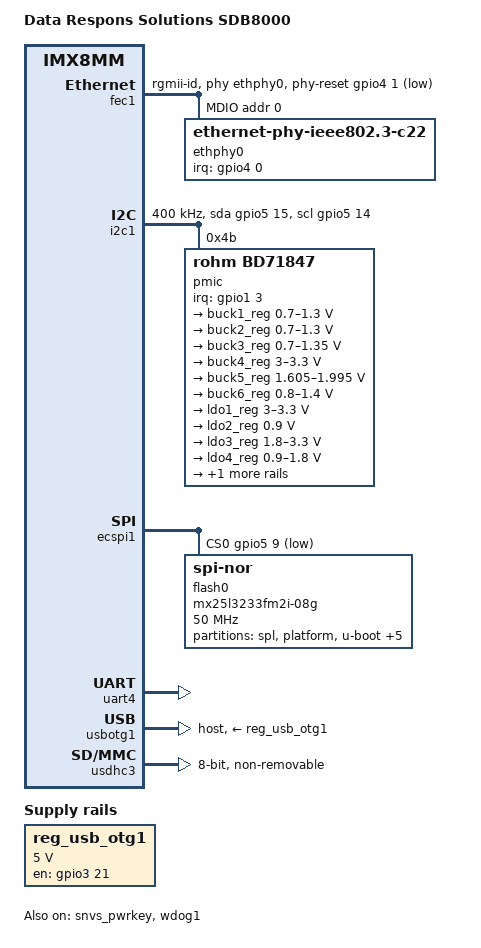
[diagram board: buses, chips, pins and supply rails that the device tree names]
// SPDX-License-Identifier: (GPL-2.0+ OR MIT)
/*
 * Copyright 2021 Data Respons Solutions AB
 */

/dts-v1/;

#include "imx8mm.dtsi"

/ {
	model = "Data Respons Solutions SDB8000";
	compatible = "drs,sdb8000", "fsl,imx8mm";

	aliases {
		spi0 = &ecspi1;
	};

	chosen {
		stdout-path = &uart4;
	};

	reg_usb_otg1: regulator-usb-otg1 {
		compatible = "regulator-fixed";
		pinctrl-names = "default";
		pinctrl-0 = <&pinctrl_reg_usb_otg1>;
		regulator-name = "USB_OTG1_5V";
		regulator-min-microvolt = <5000000>;
		regulator-max-microvolt = <5000000>;
		gpio = <&gpio3 21 GPIO_ACTIVE_HIGH>;
		off-on-delay-us = <20000>;
		enable-active-high;
		regulator-always-on;
	};
};

&A53_0 {
	cpu-supply = <&buck2_reg>;
};

&fec1 {
	pinctrl-names = "default";
	pinctrl-0 = <&pinctrl_fec1>;
	phy-mode = "rgmii-id";
	phy-handle = <&ethphy0>;
	phy-reset-gpios = <&gpio4 1 GPIO_ACTIVE_LOW>;
	phy-reset-post-delay = <10>;
	phy-reset-duration = <10>;
	fsl,magic-packet;
	status = "okay";

	mdio {
		#address-cells = <1>;
		#size-cells = <0>;

		ethphy0: ethernet-phy@0 {
			compatible = "ethernet-phy-ieee802.3-c22";
			reg = <0>;
			interrupt-parent = <&gpio4>;
			interrupts = <0 IRQ_TYPE_LEVEL_LOW>;
		};
	};
};

&i2c1 {
	clock-frequency = <400000>;
	pinctrl-names = "default", "gpio";
	pinctrl-0 = <&pinctrl_i2c1>;
	pinctrl-1 = <&pinctrl_i2c1_gpio>;
	scl-gpios = <&gpio5 14 GPIO_ACTIVE_HIGH>;
	sda-gpios = <&gpio5 15 GPIO_ACTIVE_HIGH>;
	status = "okay";

	pmic@4b {
		compatible = "rohm,bd71847";
		reg = <0x4b>;
		pinctrl-0 = <&pinctrl_pmic>;
		interrupt-parent = <&gpio1>;
		interrupts = <3 GPIO_ACTIVE_LOW>;
		rohm,reset-snvs-powered;

		regulators {
			buck1_reg: BUCK1 {
				regulator-name = "BUCK1";
				regulator-min-microvolt = <700000>;
				regulator-max-microvolt = <1300000>;
				regulator-boot-on;
				regulator-always-on;
				regulator-ramp-delay = <1250>;
			};

			buck2_reg: BUCK2 {
				regulator-name = "BUCK2";
				regulator-min-microvolt = <700000>;
				regulator-max-microvolt = <1300000>;
				regulator-boot-on;
				regulator-always-on;
				regulator-ramp-delay = <1250>;
				rohm,dvs-run-voltage = <1000000>;
				rohm,dvs-idle-voltage = <900000>;
			};

			buck3_reg: BUCK3 {
				// BUCK5 in datasheet
				regulator-name = "BUCK3";
				regulator-min-microvolt = <700000>;
				regulator-max-microvolt = <1350000>;
				regulator-boot-on;
				regulator-always-on;
			};

			buck4_reg: BUCK4 {
				// BUCK6 in datasheet
				regulator-name = "BUCK4";
				regulator-min-microvolt = <3000000>;
				regulator-max-microvolt = <3300000>;
				regulator-boot-on;
				regulator-always-on;
			};

			buck5_reg: BUCK5 {
				// BUCK7 in datasheet
				regulator-name = "BUCK5";
				regulator-min-microvolt = <1605000>;
				regulator-max-microvolt = <1995000>;
				regulator-boot-on;
				regulator-always-on;
			};

			buck6_reg: BUCK6 {
				// BUCK8 in datasheet
				regulator-name = "BUCK6";
				regulator-min-microvolt = <800000>;
				regulator-max-microvolt = <1400000>;
				regulator-boot-on;
				regulator-always-on;
			};

			ldo1_reg: LDO1 {
				regulator-name = "LDO1";
				regulator-min-microvolt = <3000000>;
				regulator-max-microvolt = <3300000>;
				regulator-boot-on;
				regulator-always-on;
			};

			ldo2_reg: LDO2 {
				regulator-name = "LDO2";
				regulator-min-microvolt = <900000>;
				regulator-max-microvolt = <900000>;
				regulator-boot-on;
				regulator-always-on;
			};

			ldo3_reg: LDO3 {
				regulator-name = "LDO3";
				regulator-min-microvolt = <1800000>;
				regulator-max-microvolt = <3300000>;
				regulator-boot-on;
				regulator-always-on;
			};

			ldo4_reg: LDO4 {
				regulator-name = "LDO4";
				regulator-min-microvolt = <900000>;
				regulator-max-microvolt = <1800000>;
				regulator-boot-on;
				regulator-always-on;
			};

			ldo6_reg: LDO6 {
				regulator-name = "LDO6";
				regulator-min-microvolt = <900000>;
				regulator-max-microvolt = <1800000>;
				regulator-boot-on;
				regulator-always-on;
			};
		};
	};
};

&ecspi1 {
	cs-gpios = <&gpio5 9 GPIO_ACTIVE_LOW>;
	pinctrl-names = "default";
	pinctrl-0 = <&pinctrl_ecspi1>;
	status = "okay";

	flash0: mx25l3233fm2i-08g@0 {
		reg = <0>;
		#address-cells = <1>;
		#size-cells = <1>;
		compatible = "jedec,spi-nor";
		spi-max-frequency = <50000000>;

		partitions {
			compatible = "fixed-partitions";
			#address-cells = <1>;
			#size-cells = <1>;

			spl@0 {
				label = "spl";
				reg = <0x000000 0x040000>;
			};

			platform@40000 {
				label = "platform";
				reg = <0x040000 0x010000>;
				read-only;
			};

			u-boot@50000 {
				label = "u-boot";
				reg = <0x050000 0x1A0000>;
			};

			u-boot-second@1F0000 {
				label = "u-boot-second";
				reg = <0x1F0000 0x1A0000>;
			};

			system_a@390000 {
				label = "system_a";
				reg = <0x390000 0x010000>;
			};

			system_b@3A0000 {
				label = "system_b";
				reg = <0x3A0000 0x010000>;
			};

			user_a@3B0000 {
				label = "user_a";
				reg = <0x3B0000 0x010000>;
			};

			user_b@3C0000 {
				label = "user_b";
				reg = <0x3C0000 0x010000>;
			};
		};
	};
};

&snvs_pwrkey {
	status = "okay";
};

&uart4 {
	pinctrl-names = "default";
	pinctrl-0 = <&pinctrl_uart4>;
	status = "okay";
};

&usbotg1 {
	dr_mode = "host";
	vbus-supply = <&reg_usb_otg1>;
	status = "okay";
};

&usdhc3 {
	pinctrl-names = "default", "state_100mhz", "state_200mhz";
	pinctrl-0 = <&pinctrl_usdhc3>;
	pinctrl-1 = <&pinctrl_usdhc3_100mhz>;
	pinctrl-2 = <&pinctrl_usdhc3_200mhz>;
	bus-width = <8>;
	non-removable;
	status = "okay";
};

&wdog1 {
	pinctrl-names = "default";
	pinctrl-0 = <&pinctrl_wdog>;
	fsl,ext-reset-output;
	status = "okay";
};

&iomuxc {
	pinctrl-names = "default";

	pinctrl_fec1: fec1grp {
		fsl,pins = <
			MX8MM_IOMUXC_ENET_MDC_ENET1_MDC				0x3
			MX8MM_IOMUXC_ENET_MDIO_ENET1_MDIO			0x3
			MX8MM_IOMUXC_ENET_TD3_ENET1_RGMII_TD3		0x1f
			MX8MM_IOMUXC_ENET_TD2_ENET1_RGMII_TD2		0x1f
			MX8MM_IOMUXC_ENET_TD1_ENET1_RGMII_TD1		0x1f
			MX8MM_IOMUXC_ENET_TD0_ENET1_RGMII_TD0		0x1f
			MX8MM_IOMUXC_ENET_RD3_ENET1_RGMII_RD3		0x91
			MX8MM_IOMUXC_ENET_RD2_ENET1_RGMII_RD2		0x91
			MX8MM_IOMUXC_ENET_RD1_ENET1_RGMII_RD1		0x91
			MX8MM_IOMUXC_ENET_RD0_ENET1_RGMII_RD0		0x91
			MX8MM_IOMUXC_ENET_TXC_ENET1_RGMII_TXC		0x1f
			MX8MM_IOMUXC_ENET_RXC_ENET1_RGMII_RXC		0x91
			MX8MM_IOMUXC_ENET_RX_CTL_ENET1_RGMII_RX_CTL	0x91
			MX8MM_IOMUXC_ENET_TX_CTL_ENET1_RGMII_TX_CTL	0x1f
			MX8MM_IOMUXC_SAI1_RXFS_GPIO4_IO0			0x0	/* ENET_nINT */
			MX8MM_IOMUXC_SAI1_RXC_GPIO4_IO1				0x0	/* ENET_nRST */
		>;
	};

	pinctrl_i2c1: i2c1grp {
		fsl,pins = <
			MX8MM_IOMUXC_I2C1_SCL_I2C1_SCL			0x400001c3
			MX8MM_IOMUXC_I2C1_SDA_I2C1_SDA			0x400001c3
		>;
	};

	pinctrl_i2c1_gpio: i2c1grp-gpio {
		fsl,pins = <
			MX8MM_IOMUXC_I2C1_SCL_GPIO5_IO14        		0x1c3
			MX8MM_IOMUXC_I2C1_SDA_GPIO5_IO15        	0x1c3
		>;
	};

	pinctrl_pmic: pmicirq {
		fsl,pins = <
			MX8MM_IOMUXC_GPIO1_IO03_GPIO1_IO3		0x41
		>;
	};

	pinctrl_uart4: uart4grp {
		fsl,pins = <
			MX8MM_IOMUXC_UART4_RXD_UART4_DCE_RX	0x140
			MX8MM_IOMUXC_UART4_TXD_UART4_DCE_TX	0x140
		>;
	};

	pinctrl_usdhc3: usdhc3grp {
		fsl,pins = <
			MX8MM_IOMUXC_NAND_WE_B_USDHC3_CLK		0x190
			MX8MM_IOMUXC_NAND_WP_B_USDHC3_CMD		0x1d0
			MX8MM_IOMUXC_NAND_DATA04_USDHC3_DATA0	0x1d0
			MX8MM_IOMUXC_NAND_DATA05_USDHC3_DATA1	0x1d0
			MX8MM_IOMUXC_NAND_DATA06_USDHC3_DATA2	0x1d0
			MX8MM_IOMUXC_NAND_DATA07_USDHC3_DATA3	0x1d0
			MX8MM_IOMUXC_NAND_RE_B_USDHC3_DATA4		0x1d0
			MX8MM_IOMUXC_NAND_CE2_B_USDHC3_DATA5	0x1d0
			MX8MM_IOMUXC_NAND_CE3_B_USDHC3_DATA6	0x1d0
			MX8MM_IOMUXC_NAND_CLE_USDHC3_DATA7		0x1d0
			MX8MM_IOMUXC_NAND_CE1_B_USDHC3_STROBE	0x190
		>;
	};

	pinctrl_usdhc3_100mhz: usdhc3grp100mhz {
		fsl,pins = <
			MX8MM_IOMUXC_NAND_WE_B_USDHC3_CLK		0x194
			MX8MM_IOMUXC_NAND_WP_B_USDHC3_CMD		0x1d4
			MX8MM_IOMUXC_NAND_DATA04_USDHC3_DATA0	0x1d4
			MX8MM_IOMUXC_NAND_DATA05_USDHC3_DATA1	0x1d4
			MX8MM_IOMUXC_NAND_DATA06_USDHC3_DATA2	0x1d4
			MX8MM_IOMUXC_NAND_DATA07_USDHC3_DATA3	0x1d4
			MX8MM_IOMUXC_NAND_RE_B_USDHC3_DATA4		0x1d4
			MX8MM_IOMUXC_NAND_CE2_B_USDHC3_DATA5	0x1d4
			MX8MM_IOMUXC_NAND_CE3_B_USDHC3_DATA6	0x1d4
			MX8MM_IOMUXC_NAND_CLE_USDHC3_DATA7		0x1d4
			MX8MM_IOMUXC_NAND_CE1_B_USDHC3_STROBE	0x194
		>;
	};

	pinctrl_usdhc3_200mhz: usdhc3grp200mhz {
		fsl,pins = <
			MX8MM_IOMUXC_NAND_WE_B_USDHC3_CLK		0x196
			MX8MM_IOMUXC_NAND_WP_B_USDHC3_CMD		0x1d6
			MX8MM_IOMUXC_NAND_DATA04_USDHC3_DATA0	0x1d6
			MX8MM_IOMUXC_NAND_DATA05_USDHC3_DATA1	0x1d6
			MX8MM_IOMUXC_NAND_DATA06_USDHC3_DATA2	0x1d6
			MX8MM_IOMUXC_NAND_DATA07_USDHC3_DATA3	0x1d6
			MX8MM_IOMUXC_NAND_RE_B_USDHC3_DATA4		0x1d6
			MX8MM_IOMUXC_NAND_CE2_B_USDHC3_DATA5	0x1d6
			MX8MM_IOMUXC_NAND_CE3_B_USDHC3_DATA6	0x1d6
			MX8MM_IOMUXC_NAND_CLE_USDHC3_DATA7		0x1d6
			MX8MM_IOMUXC_NAND_CE1_B_USDHC3_STROBE	0x196
		>;
	};

	pinctrl_wdog: wdoggrp {
		fsl,pins = <
			MX8MM_IOMUXC_GPIO1_IO02_WDOG1_WDOG_B	0xc6
		>;
	};

	pinctrl_reg_usb_otg1: usbotg1grp {
		fsl,pins = <
			MX8MM_IOMUXC_SAI5_RXD0_GPIO3_IO21	0x41
		>;
	};

	pinctrl_ecspi1: ecspi1grp {
		fsl,pins = <
			MX8MM_IOMUXC_ECSPI1_SCLK_ECSPI1_SCLK	0x94
			MX8MM_IOMUXC_ECSPI1_MISO_ECSPI1_MISO	0x94
			MX8MM_IOMUXC_ECSPI1_MOSI_ECSPI1_MOSI	0x94
			MX8MM_IOMUXC_ECSPI1_SS0_GPIO5_IO9		0x41 /* ECSPI1_SS0 */
			MX8MM_IOMUXC_GPIO1_IO15_GPIO1_IO15		0x61 /* WP_Flash */
		>;
	};
};
